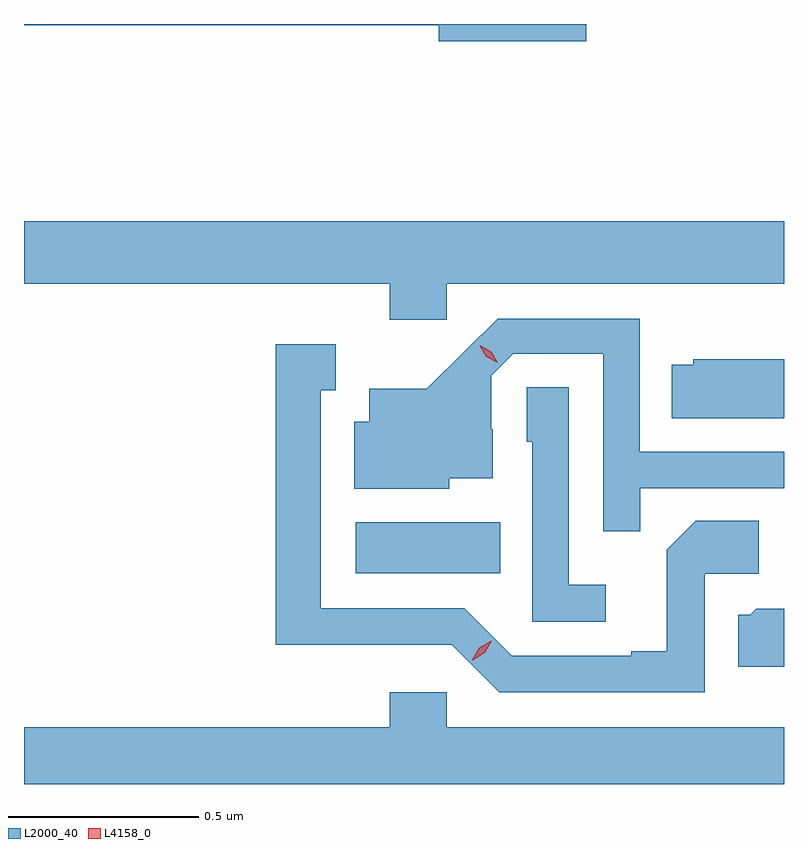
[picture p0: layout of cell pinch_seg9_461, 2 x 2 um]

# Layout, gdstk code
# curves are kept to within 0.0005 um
import gdstk
lib = gdstk.Library(unit=1e-6, precision=1e-09)
def R(c, l, rs):  # rectangles x0, y0, x1, y1
    for r in rs: c.add(gdstk.rectangle(r[:2], r[2:], *l))
def P(c, l, *ps):  # polygons
    for p in ps: c.add(gdstk.Polygon(p, *l))
L2000_40 = (2000, 40)
L4158_0 = (4158, 0)

pinch_seg9_461 = lib.new_cell('pinch_seg9_461')
R(pinch_seg9_461, L2000_40, [(238.386,1227.626,238.766,1227.76)])
P(pinch_seg9_461, L2000_40, [(238.993,1229.071),(237.513,1229.071),(237.513,1229.068),(238.604,1229.068),(238.604,1229.026),(238.993,1229.026)],
  [(238.626,1228.388),(239.513,1228.388),(239.513,1228.552),(237.513,1228.552),(237.513,1228.388),(238.475,1228.388),(238.475,1228.293),(238.626,1228.293)],
  [(239.135,1227.849),(239.513,1227.849),(239.513,1227.945),(239.133,1227.945),(239.133,1228.296),(238.76,1228.296),(238.573,1228.111),(238.421,1228.111),(238.421,1228.024),(238.382,1228.024),(238.382,1227.848),(238.632,1227.848),(238.632,1227.875),(238.747,1227.875),(238.747,1228.004),(238.743,1228.004),(238.743,1228.146),(238.8,1228.203),(239.037,1228.203),(239.037,1227.736),(239.135,1227.736)],
  [(239.304,1227.624),(239.446,1227.624),(239.446,1227.764),(239.281,1227.764),(239.205,1227.688),(239.205,1227.421),(239.111,1227.421),(239.111,1227.408),(238.797,1227.408),(238.671,1227.534),(238.294,1227.534),(238.294,1228.107),(238.333,1228.107),(238.333,1228.228),(238.176,1228.228),(238.176,1227.437),(238.416,1227.437),(238.416,1227.438),(238.638,1227.438),(238.764,1227.312),(239.304,1227.312)],
  [(239.513,1228.189),(239.274,1228.189),(239.274,1228.174),(239.218,1228.174),(239.218,1228.034),(239.513,1228.034)],
  [(239.044,1227.595),(238.947,1227.595),(238.947,1228.115),(238.836,1228.115),(238.836,1227.972),(238.851,1227.972),(238.851,1227.498),(239.044,1227.498)],
  [(239.513,1227.532),(239.44,1227.532),(239.424,1227.516),(239.393,1227.516),(239.393,1227.38),(239.513,1227.38)],
  [(239.513,1227.22),(238.626,1227.22),(238.626,1227.313),(238.475,1227.313),(238.475,1227.22),(237.513,1227.22),(237.513,1227.071),(239.513,1227.071)])
P(pinch_seg9_461, L4158_0, [(238.693,1227.397),(238.693,1227.398),(238.711,1227.43),(238.743,1227.448),(238.744,1227.448),(238.744,1227.448),(238.726,1227.416),(238.694,1227.397)],
  [(238.76,1228.179),(238.729,1228.195),(238.712,1228.224),(238.712,1228.225),(238.712,1228.225),(238.743,1228.209),(238.76,1228.179),(238.76,1228.179)])

lib.write_gds('pinch_seg9_461.gds')
